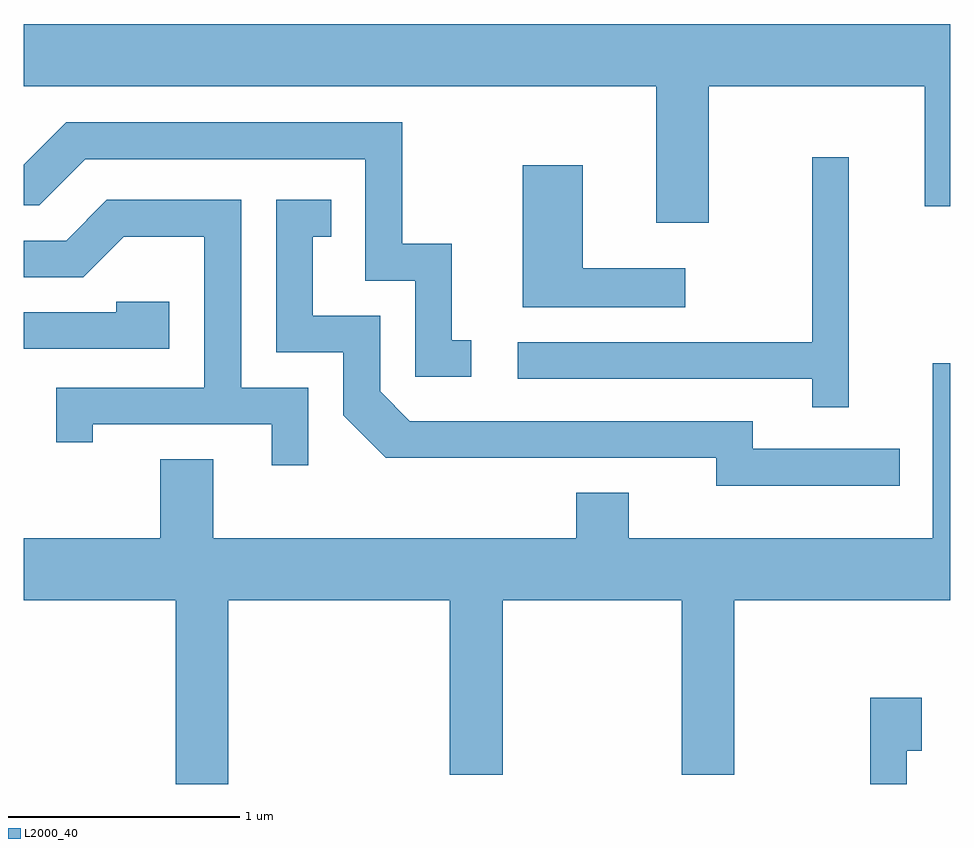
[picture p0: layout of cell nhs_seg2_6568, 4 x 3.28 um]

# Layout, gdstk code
import gdstk
lib = gdstk.Library(unit=1e-6, precision=1e-09)
def P(c, l, *ps):  # polygons
    for p in ps: c.add(gdstk.Polygon(p, *l))
L2000_40 = (2000, 40)

nhs_seg2_6568 = lib.new_cell('nhs_seg2_6568')
P(nhs_seg2_6568, L2000_40, [(382.569,992.816),(383.501,992.816),(383.501,992.296),(383.611,992.296),(383.611,993.084),(379.611,993.084),(379.611,992.816),(382.341,992.816),(382.341,992.226),(382.569,992.226)],
  [(381.543,991.719),(381.459,991.719),(381.459,992.134),(381.244,992.134),(381.244,992.659),(379.794,992.659),(379.611,992.476),(379.611,992.301),(379.677,992.301),(379.877,992.501),(381.086,992.501),(381.086,991.976),(381.301,991.976),(381.301,991.561),(381.543,991.561)],
  [(383.174,992.508),(383.016,992.508),(383.016,991.709),(381.743,991.709),(381.743,991.551),(383.016,991.551),(383.016,991.428),(383.174,991.428)],
  [(382.468,992.029),(382.024,992.029),(382.024,992.474),(381.766,992.474),(381.766,991.861),(382.468,991.861)],
  [(383.393,991.249),(382.759,991.249),(382.759,991.369),(381.277,991.369),(381.149,991.497),(381.149,991.824),(380.859,991.824),(380.859,992.166),(380.938,992.166),(380.938,992.324),(380.701,992.324),(380.701,991.666),(380.991,991.666),(380.991,991.394),(381.174,991.211),(382.601,991.211),(382.601,991.091),(383.393,991.091)],
  [(380.839,991.514),(380.549,991.514),(380.549,992.324),(379.969,992.324),(379.794,992.149),(379.611,992.149),(379.611,991.991),(379.867,991.991),(380.042,992.166),(380.391,992.166),(380.391,991.514),(379.751,991.514),(379.751,991.278),(379.909,991.278),(379.909,991.356),(380.681,991.356),(380.681,991.178),(380.839,991.178)],
  [(380.239,991.884),(380.011,991.884),(380.011,991.839),(379.611,991.839),(379.611,991.681),(380.239,991.681)],
  [(380.494,990.596),(381.451,990.596),(381.451,989.841),(381.679,989.841),(381.679,990.596),(382.451,990.596),(382.451,989.841),(382.679,989.841),(382.679,990.596),(383.611,990.596),(383.611,991.618),(383.536,991.618),(383.536,990.864),(382.224,990.864),(382.224,991.059),(381.996,991.059),(381.996,990.864),(380.429,990.864),(380.429,991.204),(380.201,991.204),(380.201,990.864),(379.611,990.864),(379.611,990.596),(380.266,990.596),(380.266,989.802),(380.494,989.802)],
  [(383.424,989.946),(383.489,989.946),(383.489,990.174),(383.266,990.174),(383.266,989.802),(383.424,989.802)])

lib.write_gds('nhs_seg2_6568.gds')
